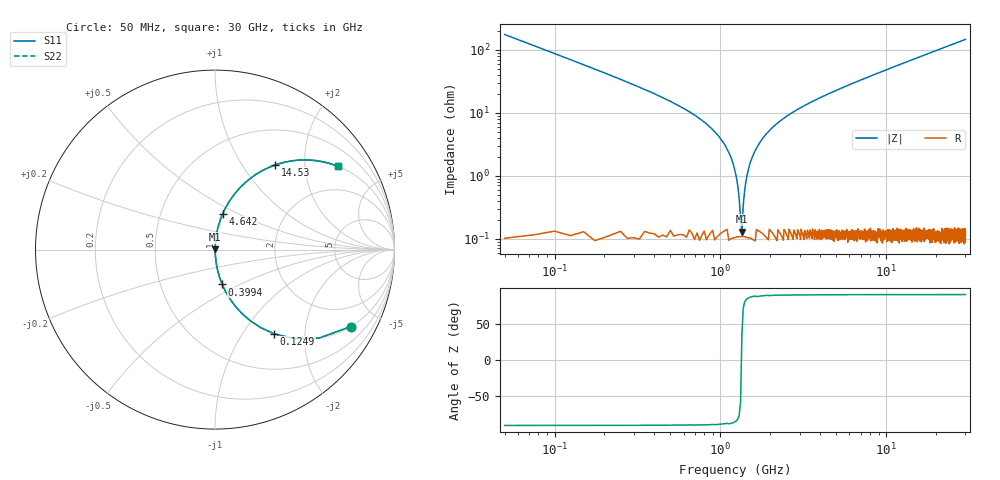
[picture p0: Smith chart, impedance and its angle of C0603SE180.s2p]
!	AVX Thin Film Operation 	Date: April 2014
!	Description: Accu-P® Series, Thin Film  SMD RF Capacitor
!	Part Number: 06035J180FBSTR
# MHZ S MA R 50
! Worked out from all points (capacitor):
!   1201 points, 50 MHz to 30 GHz, reference 50 ohm
!   read as one part in series: C = 18 pF near 199.8 MHz
!   lowest |Z| = 130 mohm at 1.348 GHz (marker M1)
!   series resonance near 1.341 GHz, so ESL is about 780 pH
!   S11 on the Smith chart (normalised r, x): 50 MHz: 1.00, -3.53; 124.9 MHz: 1.00, -1.40; 399.4 MHz: 1.00, -0.40; 4.642 GHz: 1.00, +0.42; 14.53 GHz: 1.00, +1.42; 30 GHz: 1.00, +2.95
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50  0.87 -29.5  0.493 60.5  0.493 60.5  0.87 -29.5
124.875  0.574 -54.9  0.818 35.0  0.818 35.0  0.574 -54.9
249.667  0.323 -71.0  0.945 18.9  0.945 18.9  0.323 -71.0
399.417  0.198 -78.3  0.979 11.4  0.979 11.4  0.198 -78.3
998.417  0.039 -86.1  0.998 2.3  0.998 2.3  0.039 -86.1
1123.208  0.023 -85.8  0.999 1.3  0.999 1.3  0.023 -85.8
1248  0.009502 -82.5  0.999 0.5  0.999 0.5  0.009502 -82.5
1347.833  0.001362 31.7  0.999 -0.0  0.999 -0.0  0.001362 31.7
1447.667  0.01 82.9  0.999 -0.6  0.999 -0.6  0.01 82.9
1572.458  0.021 85.6  0.999 -1.2  0.999 -1.2  0.021 85.6
1697.25  0.031 86.1  0.998 -1.8  0.998 -1.8  0.031 86.1
1896.917  0.047 85.9  0.998 -2.7  0.998 -2.7  0.047 85.9
2171.458  0.066 85.2  0.997 -3.8  0.997 -3.8  0.066 85.2
3144.833  0.125 82.3  0.991 -7.2  0.991 -7.2  0.125 82.3
4642.333  0.205 77.9  0.978 -11.8  0.978 -11.8  0.205 77.9
5041.667  0.224 76.7  0.973 -13.0  0.973 -13.0  0.224 76.7
10058.29  0.437 64.0  0.899 -25.9  0.899 -25.9  0.437 64.0
14525.83  0.578 54.6  0.815 -35.3  0.815 -35.3  0.578 54.6
15025  0.591 53.7  0.806 -36.2  0.806 -36.2  0.591 53.7
20016.67  0.7 45.5  0.714 -44.4  0.714 -44.4  0.7 45.5
25033.29  0.775 39.1  0.631 -50.8  0.631 -50.8  0.775 39.1
30000  0.827 34.2  0.561 -55.8  0.561 -55.8  0.827 34.2
